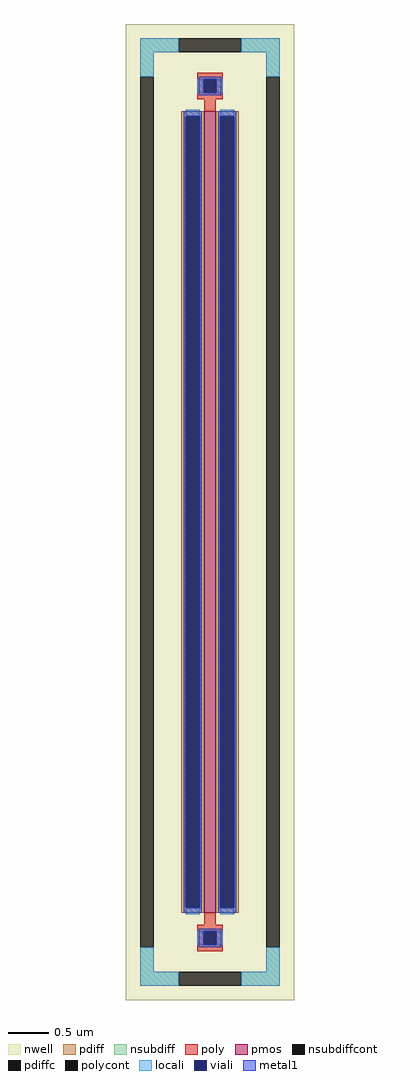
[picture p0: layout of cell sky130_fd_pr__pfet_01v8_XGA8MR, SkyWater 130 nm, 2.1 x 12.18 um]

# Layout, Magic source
magic
tech sky130A
magscale 1 2
<< nwell >>
rect -210 -1218 210 1218
<< pmos >>
rect -14 -1000 14 1000
<< pdiff >>
rect -72 988 -14 1000
rect -72 -988 -60 988
rect -26 -988 -14 988
rect -72 -1000 -14 -988
rect 14 988 72 1000
rect 14 -988 26 988
rect 60 -988 72 988
rect 14 -1000 72 -988
<< pdiffc >>
rect -60 -988 -26 988
rect 26 -988 60 988
<< nsubdiff >>
rect -174 1148 -78 1182
rect 78 1148 174 1182
rect -174 1086 -140 1148
rect 140 1086 174 1148
rect -174 -1148 -140 -1086
rect 140 -1148 174 -1086
rect -174 -1182 -78 -1148
rect 78 -1182 174 -1148
<< nsubdiffcont >>
rect -78 1148 78 1182
rect -174 -1086 -140 1086
rect 140 -1086 174 1086
rect -78 -1182 78 -1148
<< poly >>
rect -32 1080 32 1096
rect -32 1046 -16 1080
rect 16 1046 32 1080
rect -32 1030 32 1046
rect -14 1000 14 1030
rect -14 -1030 14 -1000
rect -32 -1046 32 -1030
rect -32 -1080 -16 -1046
rect 16 -1080 32 -1046
rect -32 -1096 32 -1080
<< polycont >>
rect -16 1046 16 1080
rect -16 -1080 16 -1046
<< locali >>
rect -174 1148 -78 1182
rect 78 1148 174 1182
rect -174 1086 -140 1148
rect 140 1086 174 1148
rect -32 1046 -16 1080
rect 16 1046 32 1080
rect -60 988 -26 1004
rect -60 -1004 -26 -988
rect 26 988 60 1004
rect 26 -1004 60 -988
rect -32 -1080 -16 -1046
rect 16 -1080 32 -1046
rect -174 -1148 -140 -1086
rect 140 -1148 174 -1086
rect -174 -1182 -78 -1148
rect 78 -1182 174 -1148
<< viali >>
rect -16 1046 16 1080
rect -60 -988 -26 988
rect 26 -988 60 988
rect -16 -1080 16 -1046
<< metal1 >>
rect -28 1080 28 1086
rect -28 1046 -16 1080
rect 16 1046 28 1080
rect -28 1040 28 1046
rect -66 988 -20 1000
rect -66 -988 -60 988
rect -26 -988 -20 988
rect -66 -1000 -20 -988
rect 20 988 66 1000
rect 20 -988 26 988
rect 60 -988 66 988
rect 20 -1000 66 -988
rect -28 -1046 28 -1040
rect -28 -1080 -16 -1046
rect 16 -1080 28 -1046
rect -28 -1086 28 -1080
<< properties >>
string FIXED_BBOX -158 -1166 158 1166
string gencell sky130_fd_pr__pfet_01v8
string library sky130
string parameters w 10.0 l 0.15 m 1 nf 1 diffcov 100 polycov 100 guard 1 glc 1 grc 1 gtc 1 gbc 1 tbcov 100 rlcov 100 topc 1 botc 1 poverlap 0 doverlap 1 lmin 0.15 wmin 0.42 compatible {sky130_fd_pr__pfet_01v8  sky130_fd_pr__pfet_01v8_lvt sky130_fd_pr__pfet_01v8_hvt  sky130_fd_pr__pfet_g5v0d10v5} full_metal 1 viasrc 100 viadrn 100 viagate 100 viagb 0 viagr 0 viagl 0 viagt 0
<< end >>
